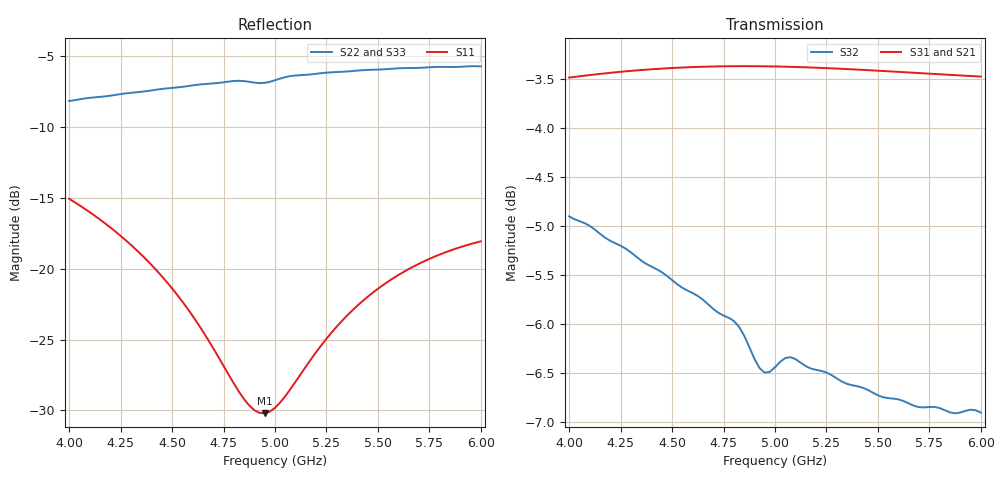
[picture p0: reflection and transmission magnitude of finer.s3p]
! yapnr rf: divider-osh-w-star-guard, footprint re-simulated (refine 3)
! spec sha256 e4db8864f030bccbe07fd0aef6c4ce0263ca7f087c5833f028f36e104ebddd66
! 3 ports renormalized to 50 ohm, e^(+jwt) convention
# GHz S RI R 50
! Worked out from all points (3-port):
!   85 points, 4 GHz to 6 GHz, reference 50 ohm
!   strongest paths, dB at 4 GHz, 4.5 GHz, 5 GHz, 5.5 GHz, 6 GHz:
!     S31: -3.5, -3.4, -3.4, -3.4, -3.5
!     S21: -3.5, -3.4, -3.4, -3.4, -3.5
!     S32: -4.9, -5.6, -6.4, -6.7, -6.9
!   lowest |S11| = -30.2 dB at 4.95 GHz (marker M1), VSWR 1.06, Z = 52.5 - j2 ohm
!   |S11| at or under -10 dB: start of sweep to end of sweep
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4  0.0295 0.1743  -0.6471 -0.1715  -0.6471 -0.1715
   -0.6468 -0.172  0.3224 -0.2223  -0.4398 0.3604
   -0.6468 -0.172  -0.4398 0.3604  0.3224 -0.2223
4.425  0.0552 0.0818  -0.6734 0.0544  -0.6734 0.0544
       -0.674 0.0533  0.2083 -0.3754  -0.2534 0.4705
       -0.674 0.0533  -0.2534 0.4705  0.2083 -0.3754
4.6  0.0517 0.0444  -0.6601 0.149  -0.6601 0.149
     -0.6613 0.1479  0.1429 -0.4208  -0.1725 0.4902
     -0.6613 0.1479  -0.1725 0.4902  0.1429 -0.4208
4.85  0.0345 -0.003  -0.6167 0.279  -0.6167 0.279
      -0.6187 0.2781  0.03 -0.4592  -0.0532 0.4915
      -0.6187 0.2781  -0.0532 0.4915  0.03 -0.4592
4.95  0.0243 -0.0191  -0.5917 0.328  -0.5917 0.328
      -0.594 0.3273  -0.000696 -0.4536  -0.0248 0.4727
      -0.594 0.3273  -0.0248 0.4727  -0.000696 -0.4536
5  0.0186 -0.0264  -0.5777 0.3516  -0.5777 0.3516
   -0.5801 0.351  -0.0128 -0.4631  -0.0148 0.476
   -0.5801 0.351  -0.0148 0.476  -0.0128 -0.4631
5.275  -0.0168 -0.0571  -0.4839 0.4692  -0.4839 0.4692
       -0.487 0.4697  -0.1409 -0.4739  0.0942 0.4624
       -0.487 0.4697  0.0942 0.4624  -0.1409 -0.4739
5.45  -0.0409 -0.0683  -0.4115 0.5314  -0.4115 0.5314
      -0.4147 0.5328  -0.2161 -0.4554  0.153 0.4378
      -0.4147 0.5328  0.153 0.4378  -0.2161 -0.4554
5.7  -0.0735 -0.074  -0.2949 0.6006  -0.2949 0.6006
     -0.2979 0.6033  -0.3121 -0.4066  0.2265 0.394
     -0.2979 0.6033  0.2265 0.394  -0.3121 -0.4066
6  -0.1045 -0.0687  -0.141 0.6506  -0.141 0.6506
   -0.1428 0.6547  -0.4078 -0.3206  0.306 0.3321
   -0.1428 0.6547  0.306 0.3321  -0.4078 -0.3206
